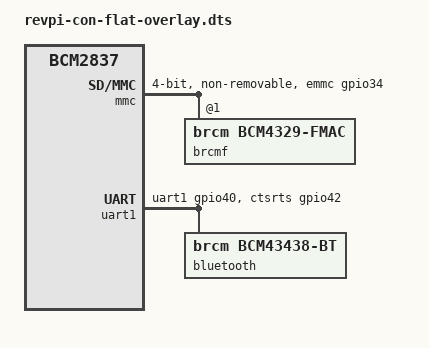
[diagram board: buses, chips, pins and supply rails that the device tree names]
/*
 * Device tree overlay for Revolution Pi by KUNBUS
 *
 * RevPi Connect Flat
 */

/dts-v1/;
/plugin/;
/{
	compatible = "brcm,bcm2837";

	fragment@0 {
		target = <&mmc>;
		__overlay__ {
			#address-cells = <1>;
			#size-cells = <0>;
			pinctrl-names = "default";
			pinctrl-0 = <&emmc_gpio34>;
			status = "okay";
			bus-width = <4>;
			non-removable;

			brcmf: wifi@1 {
				reg = <1>;
				compatible = "brcm,bcm4329-fmac";
				status = "okay";
			};
		};
	};

	fragment@1 {
		target = <&uart1>;
		__overlay__ {
			pinctrl-names = "default";
			pinctrl-0 = <&uart1_gpio40 &uart1_ctsrts_gpio42>;
			status = "okay";

			bluetooth {
				compatible = "brcm,bcm43438-bt";
				max-speed = <2000000>;
			};
		};
	};
};
